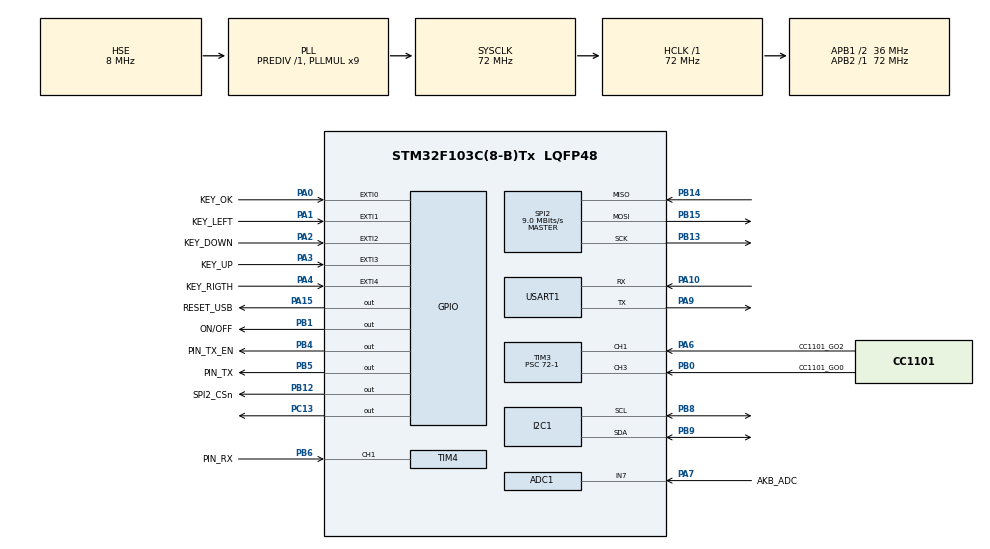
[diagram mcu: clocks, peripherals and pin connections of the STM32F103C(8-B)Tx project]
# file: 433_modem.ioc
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ADC1.Channel-61\#ChannelRegularConversion=ADC_CHANNEL_7
ADC1.ContinuousConvMode=ENABLE
ADC1.DataAlign=ADC_DATAALIGN_RIGHT
ADC1.DiscontinuousConvMode=DISABLE
ADC1.EnableAnalogWatchDog=false
ADC1.EnableRegularConversion=ENABLE
ADC1.ExternalTrigConv=ADC_SOFTWARE_START
ADC1.InjNumberOfConversion=0
ADC1.NbrOfConversion=1
ADC1.NbrOfConversionFlag=1
ADC1.Rank-61\#ChannelRegularConversion=1
ADC1.SamplingTime-61\#ChannelRegularConversion=ADC_SAMPLETIME_1CYCLE_5
ADC1.ScanConvMode=ADC_SCAN_DISABLE
ADC1.master=1
Dma.I2C1_TX.0.Direction=DMA_MEMORY_TO_PERIPH
Dma.I2C1_TX.0.Instance=DMA1_Channel6
Dma.I2C1_TX.0.MemDataAlignment=DMA_MDATAALIGN_BYTE
Dma.I2C1_TX.0.MemInc=DMA_MINC_ENABLE
Dma.I2C1_TX.0.Mode=DMA_NORMAL
Dma.I2C1_TX.0.PeriphDataAlignment=DMA_PDATAALIGN_BYTE
Dma.I2C1_TX.0.PeriphInc=DMA_PINC_DISABLE
Dma.I2C1_TX.0.Priority=DMA_PRIORITY_VERY_HIGH
Dma.Request0=I2C1_TX
I2C1.I2C_Mode=I2C_Fast
Mcu.Family=STM32F1
Mcu.Name=STM32F103C(8-B)Tx
Mcu.Package=LQFP48
NVIC.DMA1_Channel6_IRQn=true\:0\:0\:false\:false\:true\:true\:true
NVIC.EXTI0_IRQn=true\:10\:0\:true\:false\:true\:true\:true
NVIC.EXTI1_IRQn=true\:10\:0\:true\:false\:true\:true\:true
NVIC.EXTI2_IRQn=true\:10\:0\:true\:false\:true\:true\:true
NVIC.EXTI3_IRQn=true\:10\:0\:true\:false\:true\:true\:true
NVIC.EXTI4_IRQn=true\:10\:0\:true\:false\:true\:true\:true
NVIC.PriorityGroup=NVIC_PRIORITYGROUP_4
NVIC.TIM3_IRQn=true\:0\:0\:false\:false\:true\:true\:true
NVIC.TIM4_IRQn=true\:0\:0\:false\:false\:true\:true\:true
PA0-WKUP.GPIO_Label=KEY_OK
PA0-WKUP.GPIO_ModeDefaultEXTI=GPIO_MODE_IT_RISING
PA0-WKUP.GPIO_PuPd=GPIO_PULLDOWN
PA0-WKUP.Signal=GPXTI0
PA1.GPIO_Label=KEY_LEFT
PA1.GPIO_ModeDefaultEXTI=GPIO_MODE_IT_RISING
PA1.GPIO_PuPd=GPIO_PULLDOWN
PA1.Signal=GPXTI1
PA10.Mode=Asynchronous
PA10.Signal=USART1_RX
PA13.Mode=Serial_Wire
PA13.Signal=SYS_JTMS-SWDIO
PA14.Mode=Serial_Wire
PA14.Signal=SYS_JTCK-SWCLK
PA15.GPIO_Label=RESET_USB
PA15.GPIO_ModeDefaultOutputPP=GPIO_MODE_OUTPUT_PP
PA15.Signal=GPIO_Output
PA2.GPIO_Label=KEY_DOWN
PA2.GPIO_ModeDefaultEXTI=GPIO_MODE_IT_RISING
PA2.GPIO_PuPd=GPIO_PULLDOWN
PA2.Signal=GPXTI2
PA3.GPIO_Label=KEY_UP
PA3.GPIO_ModeDefaultEXTI=GPIO_MODE_IT_RISING
PA3.GPIO_PuPd=GPIO_PULLDOWN
PA3.Signal=GPXTI3
PA4.GPIO_Label=KEY_RIGTH
PA4.GPIO_ModeDefaultEXTI=GPIO_MODE_IT_RISING
PA4.GPIO_PuPd=GPIO_PULLDOWN
PA4.Signal=GPXTI4
PA6.GPIO_Label=CC1101_GO2
PA6.Signal=S_TIM3_CH1
PA7.GPIO_Label=AKB_ADC
PA7.Signal=ADCx_IN7
PA9.Mode=Asynchronous
PA9.Signal=USART1_TX
PB0.GPIO_Label=CC1101_GO0
PB0.Signal=S_TIM3_CH3
PB1.GPIO_Label=ON/OFF
PB1.GPIO_ModeDefaultOutputPP=GPIO_MODE_OUTPUT_OD
PB1.PinState=GPIO_PIN_SET
PB1.Signal=GPIO_Output
PB12.GPIO_Label=SPI2_CSn
PB12.Signal=GPIO_Output
PB13.Mode=Full_Duplex_Master
PB13.Signal=SPI2_SCK
PB14.Mode=Full_Duplex_Master
PB14.Signal=SPI2_MISO
PB15.Mode=Full_Duplex_Master
PB15.Signal=SPI2_MOSI
PB4.GPIO_Label=PIN_TX_EN
PB4.Signal=GPIO_Output
PB5.GPIO_Label=PIN_TX
PB5.Signal=GPIO_Output
PB6.GPIO_Label=PIN_RX
PB6.Signal=S_TIM4_CH1
PB8.Mode=I2C
PB8.Signal=I2C1_SCL
PB9.Mode=I2C
PB9.Signal=I2C1_SDA
PC13-TAMPER-RTC.Signal=GPIO_Output
PD0-OSC_IN.Mode=HSE-External-Oscillator
PD0-OSC_IN.Signal=RCC_OSC_IN
PD1-OSC_OUT.Mode=HSE-External-Oscillator
PD1-OSC_OUT.Signal=RCC_OSC_OUT
ProjectManager.HeapSize=0x200
ProjectManager.StackSize=0x400
ProjectManager.TargetToolchain=SW4STM32
RCC.ADCPresc=RCC_ADCPCLK2_DIV6
RCC.AHBFreq_Value=72000000
RCC.APB1CLKDivider=RCC_HCLK_DIV2
RCC.APB1Freq_Value=36000000
RCC.APB1TimFreq_Value=72000000
RCC.APB2Freq_Value=72000000
RCC.APB2TimFreq_Value=72000000
RCC.HCLKFreq_Value=72000000
RCC.PLLMUL=RCC_PLL_MUL9
RCC.PLLSourceVirtual=RCC_PLLSOURCE_HSE
RCC.SYSCLKFreq_VALUE=72000000
RCC.SYSCLKSource=RCC_SYSCLKSOURCE_PLLCLK
RCC.USBFreq_Value=48000000
RCC.USBPrescaler=RCC_USBCLKSOURCE_PLL_DIV1_5
SH.ADCx_IN7.0=ADC1_IN7,IN7
SH.S_TIM3_CH1.0=TIM3_CH1,Input_Capture1_from_TI1
SH.S_TIM3_CH1.1=TIM3_CH1,Input_Capture2_from_TI1
SH.S_TIM3_CH1.2=TIM3_CH1,TriggerSource_TI1FP1
SH.S_TIM3_CH3.0=TIM3_CH3,Input_Capture3_from_TI3
SH.S_TIM3_CH3.1=TIM3_CH3,Input_Capture4_from_TI3
SH.S_TIM4_CH1.0=TIM4_CH1,Input_Capture1_from_TI1
SH.S_TIM4_CH1.1=TIM4_CH1,Input_Capture2_from_TI1
SH.S_TIM4_CH1.2=TIM4_CH1,TriggerSource_TI1FP1
SPI2.BaudRatePrescaler=SPI_BAUDRATEPRESCALER_4
SPI2.CalculateBaudRate=9.0 MBits/s
SPI2.Direction=SPI_DIRECTION_2LINES
SPI2.FirstBit=SPI_FIRSTBIT_MSB
SPI2.Mode=SPI_MODE_MASTER
SPI2.VirtualType=VM_MASTER
TIM3.Channel-Input_Capture1_from_TI1=TIM_CHANNEL_1
TIM3.Channel-Input_Capture2_from_TI1=TIM_CHANNEL_2
TIM3.Channel-Input_Capture3_from_TI3=TIM_CHANNEL_3
TIM3.Channel-Input_Capture4_from_TI3=TIM_CHANNEL_4
TIM3.ICPolarity_CH2=TIM_INPUTCHANNELPOLARITY_FALLING
TIM3.ICPolarity_CH4=TIM_INPUTCHANNELPOLARITY_FALLING
TIM3.Period=0xFFFF
TIM3.Prescaler=72-1
TIM3.TIM_MasterSlaveMode=TIM_MASTERSLAVEMODE_ENABLE
TIM4.Channel-Input_Capture1_from_TI1=TIM_CHANNEL_1
TIM4.Channel-Input_Capture2_from_TI1=TIM_CHANNEL_2
TIM4.ICPolarity_CH1=TIM_INPUTCHANNELPOLARITY_RISING
TIM4.ICPolarity_CH2=TIM_INPUTCHANNELPOLARITY_FALLING
TIM4.Period=0xFFFF
TIM4.Prescaler=72-1
TIM4.TIM_MasterSlaveMode=TIM_MASTERSLAVEMODE_ENABLE
USART1.VirtualMode=VM_ASYNC
VP_TIM3_VS_ClockSourceINT.Mode=Internal
VP_TIM3_VS_ControllerModeReset.Mode=Reset Mode
VP_TIM4_VS_ClockSourceINT.Mode=Internal
VP_TIM4_VS_ControllerModeReset.Mode=Reset Mode
board=433_modem

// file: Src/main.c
/**
  ******************************************************************************
  * File Name          : main.c
  * Description        : Main program body
  ******************************************************************************
  ** This notice applies to any and all portions of this file
  * that are not between comment pairs USER CODE BEGIN and
  * USER CODE END. Other portions of this file, whether
  * inserted by the user or by software development tools
  * are owned by their respective copyright owners.
  *
  * COPYRIGHT(c) 2017 STMicroelectronics
  *
  * Redistribution and use in source and binary forms, with or without modification,
  * are permitted provided that the following conditions are met:
  *   1. Redistributions of source code must retain the above copyright notice,
  *      this list of conditions and the following disclaimer.
  *   2. Redistributions in binary form must reproduce the above copyright notice,
  *      this list of conditions and the following disclaimer in the documentation
  *      and/or other materials provided with the distribution.
  *   3. Neither the name of STMicroelectronics nor the names of its contributors
  *      may be used to endorse or promote products derived from this software
  *      without specific prior written permission.
  *
  * THIS SOFTWARE IS PROVIDED BY THE COPYRIGHT HOLDERS AND CONTRIBUTORS "AS IS"
  * AND ANY EXPRESS OR IMPLIED WARRANTIES, INCLUDING, BUT NOT LIMITED TO, THE
  * IMPLIED WARRANTIES OF MERCHANTABILITY AND FITNESS FOR A PARTICULAR PURPOSE ARE
  * DISCLAIMED. IN NO EVENT SHALL THE COPYRIGHT HOLDER OR CONTRIBUTORS BE LIABLE
  * FOR ANY DIRECT, INDIRECT, INCIDENTAL, SPECIAL, EXEMPLARY, OR CONSEQUENTIAL
  * DAMAGES (INCLUDING, BUT NOT LIMITED TO, PROCUREMENT OF SUBSTITUTE GOODS OR
  * SERVICES; LOSS OF USE, DATA, OR PROFITS; OR BUSINESS INTERRUPTION) HOWEVER
  * CAUSED AND ON ANY THEORY OF LIABILITY, WHETHER IN CONTRACT, STRICT LIABILITY,
  * OR TORT (INCLUDING NEGLIGENCE OR OTHERWISE) ARISING IN ANY WAY OUT OF THE USE
  * OF THIS SOFTWARE, EVEN IF ADVISED OF THE POSSIBILITY OF SUCH DAMAGE.
  *
  ******************************************************************************
  */
#include "main.h"
#include "stm32f1xx_hal.h"

/* USER CODE BEGIN Includes */

#include <math.h>
#include "dwt_stm32_delay.h"
#include "433Modem.h"
#include "came.h"
#include "nice.h"
#include "Princeton.h"
#include "PrincetonPT2240.h"
#include "keelog.h"
#include "StarLine.h"
#include "Alligator.h"

#include "keelog_func.h"
#include "fonts.h"
#include "ssd1306.h"
#include "menu.h"
#include "Fun_Menu.h"

//#include "usbd_cdc_if.h"//??????????????

#include "CC1101.h"

/* USER CODE END Includes */

ADC_HandleTypeDef hadc1;

I2C_HandleTypeDef hi2c1;
DMA_HandleTypeDef hdma_i2c1_tx;

SPI_HandleTypeDef hspi2;

TIM_HandleTypeDef htim3;
TIM_HandleTypeDef htim4;

UART_HandleTypeDef huart1;

/* USER CODE BEGIN PV */
/* Private variables ---------------------------------------------------------*/
unsigned long Time_Start_led=0;
uint16_t t;
char BufTX [100];

char CDCTX [64];

#define AKB_CORR 500

//uint16_t canal[7]={0,0,0,0,0,0,0};
//#define CORRECT 35
/* USER CODE END PV */

void SystemClock_Config(void);
static void MX_GPIO_Init(void);
static void MX_DMA_Init(void);
static void MX_I2C1_Init(void);
static void MX_TIM4_Init(void);
static void MX_USART1_UART_Init(void);
static void MX_ADC1_Init(void);
static void MX_SPI2_Init(void);
static void MX_TIM3_Init(void);

/* USER CODE BEGIN PFP */
/* Private function prototypes -----------------------------------------------*/

/* USER CODE END PFP */

/* USER CODE BEGIN 0 */
float Get_AKB (void){
	HAL_ADC_Start(&hadc1);
	HAL_ADCEx_InjectedPollForConversion(&hadc1,100);
	float res= HAL_ADC_GetValue(&hadc1);
	HAL_ADC_Stop(&hadc1);
	return res / AKB_CORR;
}

void Led_Blink (){
	if ((HAL_GetTick()-Time_Start_led)+1 > 500) {
		Time_Start_led=HAL_GetTick();
		HAL_GPIO_TogglePin(GPIOC, GPIO_PIN_13);
		Show_Status();
	}
}

uint32_t GET_SerialID (void){
	volatile uint32_t *UniqueID = (uint32_t *)0x1FFFF7E8;
	volatile uint32_t __UniqueID[3];

	__UniqueID[0] = UniqueID[0];
	__UniqueID[1] = UniqueID[1];
	__UniqueID[2] = UniqueID[2];
	//uint32_t SN;
	//(uint32_t*) SN=HAL_GetDEVID;
	return __UniqueID[2];
}

void Init_USB (void){
HAL_GPIO_WritePin(GPIOA, GPIO_PIN_15, GPIO_PIN_RESET);
HAL_Delay(500);
HAL_GPIO_WritePin(GPIOA, GPIO_PIN_15, GPIO_PIN_SET);
}

/* USER CODE END 0 */

int main(void)
{

  /* MCU Configuration----------------------------------------------------------*/

  /* Reset of all peripherals, Initializes the Flash interface and the Systick. */
  HAL_Init();

  /* Configure the system clock */
  SystemClock_Config();

  /* Initialize all configured peripherals */
  MX_GPIO_Init();
  MX_DMA_Init();
  MX_I2C1_Init();
  MX_TIM4_Init();
  MX_USART1_UART_Init();
  MX_ADC1_Init();
  MX_SPI2_Init();
  MX_TIM3_Init();

  /* USER CODE BEGIN 2 */

  Tim_Init(1); //start tim

	//Init_Menu ();
	//Init_USB(); //start USB
	 //PB15->MOSI, PB14->MISO, PB13->SCK, PB12->CSn, PB5->GO0, PB6->GO2

	 CC1101_Init(&hspi2, GPIOB, GPIO_PIN_12);
	 CC1101_Config(AM_433);

		if(!SSD1306_Init(&hi2c1)){ //Init OLED SSD1306
    //Error_Handler(); /* Call Error Handler */
  } else {

		//Show_Status();

	SSD1306_GotoXY(40,0);
	snprintf(CDCTX, sizeof(CDCTX),"sn: %X", GET_SerialID());
  SSD1306_Puts(CDCTX, &Font_7x10, 1);
	SSD1306_GotoXY(20,18);
	//SSD1306_Puts("STM32 Logger", &Font_11x18, 1);
	SSD1306_Puts("STM32 Logger", &Font_7x10, 1);

	SSD1306_GotoXY(0,52);
	//snprintf(CDCTX, sizeof(CDCTX),"AKB:%0.2f", Get_AKB());//GET_SerialID());
	snprintf(CDCTX, sizeof(CDCTX),"Fq:%0.2f", CC1101_GET_Freq());//GET_SerialID())
  SSD1306_Puts(CDCTX, &Font_7x10, 1);

	SSD1306_GotoXY(70,52);
	SSD1306_Puts("By Skorp", &Font_7x10, 1);
	SSD1306_UpdateScreen(); //display
	HAL_Delay(1000);

															//	uint64_t serr = Normal_Learning(0x02D5DFF, 0xD5A5E7B2A7C1A0BA);
															//	SSD1306_Fill(SSD1306_COLOR_BLACK);
															//	SSD1306_GotoXY(0,0);
															//	snprintf(CDCTX, sizeof(CDCTX),"K_Decr: %X", KeeLoq_Decrypt(0xC6A21AB7, serr));
															//	SSD1306_Puts(CDCTX, &Font_7x10, 1);
															//	SSD1306_GotoXY(0,10);
															//	snprintf(CDCTX, sizeof(CDCTX),"K_Decr: %X", KeeLoq_Decrypt(0xFFFFB755, serr));
															//	SSD1306_Puts(CDCTX, &Font_7x10, 1);
															//	SSD1306_GotoXY(0,20);
															//	snprintf(CDCTX, sizeof(CDCTX),"K_Decr: %X", KeeLoq_Decrypt(0x5272803F, serr));
															//	SSD1306_Puts(CDCTX, &Font_7x10, 1);

	initMenu();
	}

  if(DWT_Delay_Init()){  //Init timer uS
    Error_Handler(); /* Call Error Handler */
  }

	Init_CAME();
	Init_NICE();
	Init_PRINCETON ();
	Init_PRINCETON_PT2240 ();
	Init_KEELOG();
	Init_STARLINE();
	Init_ALLIGATOR();

	GET_SerialID();

  /* USER CODE END 2 */

  /* Infinite loop */
  while (1)
  {

  /* USER CODE BEGIN 3 */

	//DWT_Delay_us(250);
  //HAL_GPIO_TogglePin(GPIOC, GPIO_PIN_13);

//  for (uint16_t i=0xFFF ; i>0; i--){
//		Send_CAME (i, 12, 4);
//	snprintf(BufTX, sizeof(BufTX),"0x%X HEX  \n\r", i);
//	HAL_UART_Transmit(&huart1, (uint8_t*) BufTX, strlen(BufTX), 1000);
//	}
//    snprintf(CDCTX, sizeof(CDCTX),"32323232323  \n\r");
//		CDC_Transmit_FS((uint8_t*) CDCTX, 12);   //strlen(CDCTX));

//CC1101_Strobe(STX);
//	for(uint16_t i=0; i<0xFFFF; i++){
//
//	 Send_CAME(i, 12, 4);
//	}

//Send_STARLINE(0xC7a0c0e6ed3272e4,64,5);
//HAL_Delay(5000);
//CC1101_Strobe(STX);
//	for(uint16_t i=0; i<0xFFFF; i++){
//
//	 Send_CAME(i, 12, 4);
//	}

	while(bufDiff()){
		Led_Blink();
		Tbuf bit = readFromBuf();
		Analysis_bit_CAME(bit);
	  Analysis_bit_NICE(bit);
		Analysis_bit_PRINCETON(bit);
		Analysis_bit_PRINCETON_PT2240(bit);
		Analysis_bit_KEELOG(bit);
		Analysis_bit_STARLINE(bit);
		Analysis_bit_ALLIGATOR(bit);
		snprintf(CDCTX, sizeof(CDCTX),"%d,%d\n", bit.Time,bit.Status); //\r
		SSD1306_GotoXY(0,52);
		SSD1306_Puts(CDCTX,&Font_7x10, 1);
		//CDC_Transmit_FS((uint8_t*) CDCTX, strlen(CDCTX));   //strlen(CDCTX));

		//HAL_UART_Transmit(&huart1, (uint8_t*) BufTX, strlen(BufTX), 1000);
		}
  }
  /* USER CODE END 3 */

}

/** System Clock Configuration
*/
void SystemClock_Config(void)
{

  RCC_OscInitTypeDef RCC_OscInitStruct;
  RCC_ClkInitTypeDef RCC_ClkInitStruct;
  RCC_PeriphCLKInitTypeDef PeriphClkInit;

    /**Initializes the CPU, AHB and APB busses clocks
    */
  RCC_OscInitStruct.OscillatorType = RCC_OSCILLATORTYPE_HSE;
  RCC_OscInitStruct.HSEState = RCC_HSE_ON;
  RCC_OscInitStruct.HSEPredivValue = RCC_HSE_PREDIV_DIV1;
  RCC_OscInitStruct.HSIState = RCC_HSI_ON;
  RCC_OscInitStruct.PLL.PLLState = RCC_PLL_ON;
  RCC_OscInitStruct.PLL.PLLSource = RCC_PLLSOURCE_HSE;
  RCC_OscInitStruct.PLL.PLLMUL = RCC_PLL_MUL9;
  if (HAL_RCC_OscConfig(&RCC_OscInitStruct) != HAL_OK)
  {
    _Error_Handler(__FILE__, __LINE__);
  }

    /**Initializes the CPU, AHB and APB busses clocks
    */
  RCC_ClkInitStruct.ClockType = RCC_CLOCKTYPE_HCLK|RCC_CLOCKTYPE_SYSCLK
                              |RCC_CLOCKTYPE_PCLK1|RCC_CLOCKTYPE_PCLK2;
  RCC_ClkInitStruct.SYSCLKSource = RCC_SYSCLKSOURCE_PLLCLK;
  RCC_ClkInitStruct.AHBCLKDivider = RCC_SYSCLK_DIV1;
  RCC_ClkInitStruct.APB1CLKDivider = RCC_HCLK_DIV2;
  RCC_ClkInitStruct.APB2CLKDivider = RCC_HCLK_DIV1;

  if (HAL_RCC_ClockConfig(&RCC_ClkInitStruct, FLASH_LATENCY_2) != HAL_OK)
  {
    _Error_Handler(__FILE__, __LINE__);
  }

  PeriphClkInit.PeriphClockSelection = RCC_PERIPHCLK_ADC;
  PeriphClkInit.AdcClockSelection = RCC_ADCPCLK2_DIV6;
  if (HAL_RCCEx_PeriphCLKConfig(&PeriphClkInit) != HAL_OK)
  {
    _Error_Handler(__FILE__, __LINE__);
  }

    /**Configure the Systick interrupt time
    */
  HAL_SYSTICK_Config(HAL_RCC_GetHCLKFreq()/1000);

    /**Configure the Systick
    */
  HAL_SYSTICK_CLKSourceConfig(SYSTICK_CLKSOURCE_HCLK);

  /* SysTick_IRQn interrupt configuration */
  HAL_NVIC_SetPriority(SysTick_IRQn, 0, 0);
}

/* ADC1 init function */
static void MX_ADC1_Init(void)
{

  ADC_ChannelConfTypeDef sConfig;

    /**Common config
    */
  hadc1.Instance = ADC1;
  hadc1.Init.ScanConvMode = ADC_SCAN_DISABLE;
  hadc1.Init.ContinuousConvMode = ENABLE;
  hadc1.Init.DiscontinuousConvMode = DISABLE;
  hadc1.Init.ExternalTrigConv = ADC_SOFTWARE_START;
  hadc1.Init.DataAlign = ADC_DATAALIGN_RIGHT;
  hadc1.Init.NbrOfConversion = 1;
  if (HAL_ADC_Init(&hadc1) != HAL_OK)
  {
    _Error_Handler(__FILE__, __LINE__);
  }

    /**Configure Regular Channel
    */
  sConfig.Channel = ADC_CHANNEL_7;
  sConfig.Rank = 1;
  sConfig.SamplingTime = ADC_SAMPLETIME_1CYCLE_5;
  if (HAL_ADC_ConfigChannel(&hadc1, &sConfig) != HAL_OK)
  {
    _Error_Handler(__FILE__, __LINE__);
  }

}

/* I2C1 init function */
static void MX_I2C1_Init(void)
{

  hi2c1.Instance = I2C1;
  hi2c1.Init.ClockSpeed = 400000;
  hi2c1.Init.DutyCycle = I2C_DUTYCYCLE_2;
  hi2c1.Init.OwnAddress1 = 0;
  hi2c1.Init.AddressingMode = I2C_ADDRESSINGMODE_7BIT;
  hi2c1.Init.DualAddressMode = I2C_DUALADDRESS_DISABLE;
  hi2c1.Init.OwnAddress2 = 0;
  hi2c1.Init.GeneralCallMode = I2C_GENERALCALL_DISABLE;
  hi2c1.Init.NoStretchMode = I2C_NOSTRETCH_DISABLE;
  if (HAL_I2C_Init(&hi2c1) != HAL_OK)
  {
    _Error_Handler(__FILE__, __LINE__);
  }

}

/* SPI2 init function */
static void MX_SPI2_Init(void)
{

  hspi2.Instance = SPI2;
  hspi2.Init.Mode = SPI_MODE_MASTER;
  hspi2.Init.Direction = SPI_DIRECTION_2LINES;
  hspi2.Init.DataSize = SPI_DATASIZE_8BIT;
  hspi2.Init.CLKPolarity = SPI_POLARITY_LOW;
  hspi2.Init.CLKPhase = SPI_PHASE_1EDGE;
  hspi2.Init.NSS = SPI_NSS_SOFT;
  hspi2.Init.BaudRatePrescaler = SPI_BAUDRATEPRESCALER_4;
  hspi2.Init.FirstBit = SPI_FIRSTBIT_MSB;
  hspi2.Init.TIMode = SPI_TIMODE_DISABLE;
  hspi2.Init.CRCCalculation = SPI_CRCCALCULATION_DISABLE;
  hspi2.Init.CRCPolynomial = 10;
  if (HAL_SPI_Init(&hspi2) != HAL_OK)
  {
    _Error_Handler(__FILE__, __LINE__);
  }

}

/* TIM3 init function */
static void MX_TIM3_Init(void)
{

  TIM_ClockConfigTypeDef sClockSourceConfig;
  TIM_SlaveConfigTypeDef sSlaveConfig;
  TIM_MasterConfigTypeDef sMasterConfig;
  TIM_IC_InitTypeDef sConfigIC;

  htim3.Instance = TIM3;
  htim3.Init.Prescaler = 72-1;
  htim3.Init.CounterMode = TIM_COUNTERMODE_UP;
  htim3.Init.Period = 0xFFFF;
  htim3.Init.ClockDivision = TIM_CLOCKDIVISION_DIV1;
  if (HAL_TIM_Base_Init(&htim3) != HAL_OK)
  {
    _Error_Handler(__FILE__, __LINE__);
  }

  sClockSourceConfig.ClockSource = TIM_CLOCKSOURCE_INTERNAL;
  if (HAL_TIM_ConfigClockSource(&htim3, &sClockSourceConfig) != HAL_OK)
  {
    _Error_Handler(__FILE__, __LINE__);
  }

  if (HAL_TIM_IC_Init(&htim3) != HAL_OK)
  {
    _Error_Handler(__FILE__, __LINE__);
  }

  sSlaveConfig.SlaveMode = TIM_SLAVEMODE_RESET;
  sSlaveConfig.InputTrigger = TIM_TS_TI1FP1;
  sSlaveConfig.TriggerPolarity = TIM_INPUTCHANNELPOLARITY_RISING;
  sSlaveConfig.TriggerFilter = 0;
  if (HAL_TIM_SlaveConfigSynchronization(&htim3, &sSlaveConfig) != HAL_OK)
  {
    _Error_Handler(__FILE__, __LINE__);
  }

  sMasterConfig.MasterOutputTrigger = TIM_TRGO_RESET;
  sMasterConfig.MasterSlaveMode = TIM_MASTERSLAVEMODE_ENABLE;
  if (HAL_TIMEx_MasterConfigSynchronization(&htim3, &sMasterConfig) != HAL_OK)
  {
    _Error_Handler(__FILE__, __LINE__);
  }

  sConfigIC.ICPolarity = TIM_INPUTCHANNELPOLARITY_RISING;
  sConfigIC.ICSelection = TIM_ICSELECTION_DIRECTTI;
  sConfigIC.ICPrescaler = TIM_ICPSC_DIV1;
  sConfigIC.ICFilter = 0;
  if (HAL_TIM_IC_ConfigChannel(&htim3, &sConfigIC, TIM_CHANNEL_1) != HAL_OK)
  {
    _Error_Handler(__FILE__, __LINE__);
  }

  sConfigIC.ICPolarity = TIM_INPUTCHANNELPOLARITY_FALLING;
  sConfigIC.ICSelection = TIM_ICSELECTION_INDIRECTTI;
  if (HAL_TIM_IC_ConfigChannel(&htim3, &sConfigIC, TIM_CHANNEL_2) != HAL_OK)
  {
    _Error_Handler(__FILE__, __LINE__);
  }

  sConfigIC.ICPolarity = TIM_INPUTCHANNELPOLARITY_RISING;
  sConfigIC.ICSelection = TIM_ICSELECTION_DIRECTTI;
  if (HAL_TIM_IC_ConfigChannel(&htim3, &sConfigIC, TIM_CHANNEL_3) != HAL_OK)
  {
    _Error_Handler(__FILE__, __LINE__);
  }

  sConfigIC.ICPolarity = TIM_INPUTCHANNELPOLARITY_FALLING;
  sConfigIC.ICSelection = TIM_ICSELECTION_INDIRECTTI;
  if (HAL_TIM_IC_ConfigChannel(&htim3, &sConfigIC, TIM_CHANNEL_4) != HAL_OK)
  {
    _Error_Handler(__FILE__, __LINE__);
  }

}

/* TIM4 init function */
static void MX_TIM4_Init(void)
{

  TIM_ClockConfigTypeDef sClockSourceConfig;
  TIM_SlaveConfigTypeDef sSlaveConfig;
  TIM_MasterConfigTypeDef sMasterConfig;
  TIM_IC_InitTypeDef sConfigIC;

  htim4.Instance = TIM4;
  htim4.Init.Prescaler = 72-1;
  htim4.Init.CounterMode = TIM_COUNTERMODE_UP;
  htim4.Init.Period = 0xFFFF;
  htim4.Init.ClockDivision = TIM_CLOCKDIVISION_DIV1;
  if (HAL_TIM_Base_Init(&htim4) != HAL_OK)
  {
    _Error_Handler(__FILE__, __LINE__);
  }

  sClockSourceConfig.ClockSource = TIM_CLOCKSOURCE_INTERNAL;
  if (HAL_TIM_ConfigClockSource(&htim4, &sClockSourceConfig) != HAL_OK)
  {
    _Error_Handler(__FILE__, __LINE__);
  }

  if (HAL_TIM_IC_Init(&htim4) != HAL_OK)
  {
    _Error_Handler(__FILE__, __LINE__);
  }

  sSlaveConfig.SlaveMode = TIM_SLAVEMODE_RESET;
  sSlaveConfig.InputTrigger = TIM_TS_TI1FP1;
  sSlaveConfig.TriggerPolarity = TIM_INPUTCHANNELPOLARITY_RISING;
  sSlaveConfig.TriggerFilter = 0;
  if (HAL_TIM_SlaveConfigSynchronization(&htim4, &sSlaveConfig) != HAL_OK)
  {
    _Error_Handler(__FILE__, __LINE__);
  }

  sMasterConfig.MasterOutputTrigger = TIM_TRGO_RESET;
  sMasterConfig.MasterSlaveMode = TIM_MASTERSLAVEMODE_ENABLE;
  if (HAL_TIMEx_MasterConfigSynchronization(&htim4, &sMasterConfig) != HAL_OK)
  {
    _Error_Handler(__FILE__, __LINE__);
  }

  sConfigIC.ICPolarity = TIM_INPUTCHANNELPOLARITY_RISING;
  sConfigIC.ICSelection = TIM_ICSELECTION_DIRECTTI;
  sConfigIC.ICPrescaler = TIM_ICPSC_DIV1;
  sConfigIC.ICFilter = 0;
  if (HAL_TIM_IC_ConfigChannel(&htim4, &sConfigIC, TIM_CHANNEL_1) != HAL_OK)
  {
    _Error_Handler(__FILE__, __LINE__);
  }

  sConfigIC.ICPolarity = TIM_INPUTCHANNELPOLARITY_FALLING;
  sConfigIC.ICSelection = TIM_ICSELECTION_INDIRECTTI;
  if (HAL_TIM_IC_ConfigChannel(&htim4, &sConfigIC, TIM_CHANNEL_2) != HAL_OK)
  {
    _Error_Handler(__FILE__, __LINE__);
  }

}

/* USART1 init function */
static void MX_USART1_UART_Init(void)
{

  huart1.Instance = USART1;
  huart1.Init.BaudRate = 115200;
  huart1.Init.WordLength = UART_WORDLENGTH_8B;
  huart1.Init.StopBits = UART_STOPBITS_1;
  huart1.Init.Parity = UART_PARITY_NONE;
  huart1.Init.Mode = UART_MODE_TX_RX;
  huart1.Init.HwFlowCtl = UART_HWCONTROL_NONE;
  huart1.Init.OverSampling = UART_OVERSAMPLING_16;
  if (HAL_UART_Init(&huart1) != HAL_OK)
  {
    _Error_Handler(__FILE__, __LINE__);
  }

}

static void MX_DMA_Init(void)
{
  /* DMA controller clock enable */
  __HAL_RCC_DMA1_CLK_ENABLE();

  /* DMA interrupt init */
  /* DMA1_Channel6_IRQn interrupt configuration */
  HAL_NVIC_SetPriority(DMA1_Channel6_IRQn, 0, 0);
  HAL_NVIC_EnableIRQ(DMA1_Channel6_IRQn);

}

/** Configure pins as
        * Analog
        * Input
        * Output
        * EVENT_OUT
        * EXTI
*/
static void MX_GPIO_Init(void)
{

  GPIO_InitTypeDef GPIO_InitStruct;

  /* GPIO Ports Clock Enable */
  __HAL_RCC_GPIOC_CLK_ENABLE();
  __HAL_RCC_GPIOD_CLK_ENABLE();
  __HAL_RCC_GPIOA_CLK_ENABLE();
  __HAL_RCC_GPIOB_CLK_ENABLE();

  /*Configure GPIO pin Output Level */
  HAL_GPIO_WritePin(GPIOC, GPIO_PIN_13, GPIO_PIN_RESET);

  /*Configure GPIO pin Output Level */
  HAL_GPIO_WritePin(ON_OFF_GPIO_Port, ON_OFF_Pin, GPIO_PIN_SET);

  /*Configure GPIO pin Output Level */
  HAL_GPIO_WritePin(GPIOB, SPI2_CSn_Pin|PIN_TX_EN_Pin|PIN_TX_Pin, GPIO_PIN_RESET);

  /*Configure GPIO pin Output Level */
  HAL_GPIO_WritePin(RESET_USB_GPIO_Port, RESET_USB_Pin, GPIO_PIN_RESET);

  /*Configure GPIO pin : PC13 */
  GPIO_InitStruct.Pin = GPIO_PIN_13;
  GPIO_InitStruct.Mode = GPIO_MODE_OUTPUT_PP;
  GPIO_InitStruct.Speed = GPIO_SPEED_FREQ_LOW;
  HAL_GPIO_Init(GPIOC, &GPIO_InitStruct);

  /*Configure GPIO pins : KEY_OK_Pin KEY_LEFT_Pin KEY_DOWN_Pin KEY_UP_Pin
                           KEY_RIGTH_Pin */
  GPIO_InitStruct.Pin = KEY_OK_Pin|KEY_LEFT_Pin|KEY_DOWN_Pin|KEY_UP_Pin
                          |KEY_RIGTH_Pin;
  GPIO_InitStruct.Mode = GPIO_MODE_IT_RISING;
  GPIO_InitStruct.Pull = GPIO_PULLDOWN;
  HAL_GPIO_Init(GPIOA, &GPIO_InitStruct);

  /*Configure GPIO pin : ON_OFF_Pin */
  GPIO_InitStruct.Pin = ON_OFF_Pin;
  GPIO_InitStruct.Mode = GPIO_MODE_OUTPUT_OD;
  GPIO_InitStruct.Speed = GPIO_SPEED_FREQ_LOW;
  HAL_GPIO_Init(ON_OFF_GPIO_Port, &GPIO_InitStruct);

  /*Configure GPIO pins : SPI2_CSn_Pin PIN_TX_EN_Pin PIN_TX_Pin */
  GPIO_InitStruct.Pin = SPI2_CSn_Pin|PIN_TX_EN_Pin|PIN_TX_Pin;
  GPIO_InitStruct.Mode = GPIO_MODE_OUTPUT_PP;
  GPIO_InitStruct.Speed = GPIO_SPEED_FREQ_LOW;
  HAL_GPIO_Init(GPIOB, &GPIO_InitStruct);

  /*Configure GPIO pin : RESET_USB_Pin */
  GPIO_InitStruct.Pin = RESET_USB_Pin;
  GPIO_InitStruct.Mode = GPIO_MODE_OUTPUT_PP;
  GPIO_InitStruct.Speed = GPIO_SPEED_FREQ_LOW;
  HAL_GPIO_Init(RESET_USB_GPIO_Port, &GPIO_InitStruct);

  /* EXTI interrupt init*/
  HAL_NVIC_SetPriority(EXTI0_IRQn, 10, 0);
  HAL_NVIC_EnableIRQ(EXTI0_IRQn);

  HAL_NVIC_SetPriority(EXTI1_IRQn, 10, 0);
  HAL_NVIC_EnableIRQ(EXTI1_IRQn);

  HAL_NVIC_SetPriority(EXTI2_IRQn, 10, 0);
  HAL_NVIC_EnableIRQ(EXTI2_IRQn);

  HAL_NVIC_SetPriority(EXTI3_IRQn, 10, 0);
  HAL_NVIC_EnableIRQ(EXTI3_IRQn);

  HAL_NVIC_SetPriority(EXTI4_IRQn, 10, 0);
  HAL_NVIC_EnableIRQ(EXTI4_IRQn);

}

/* USER CODE BEGIN 4 */
 void HAL_GPIO_EXTI_Callback(uint16_t GPIO_Pin){

	 //Check_KEY1();
	 Key_Menu ();
	// HAL_Delay(200);

}
/* USER CODE END 4 */

void _Error_Handler(char * file, int line)
{
  while(1)
  {
  }
}

/************************ (C) COPYRIGHT STMicroelectronics *****END OF FILE****/
